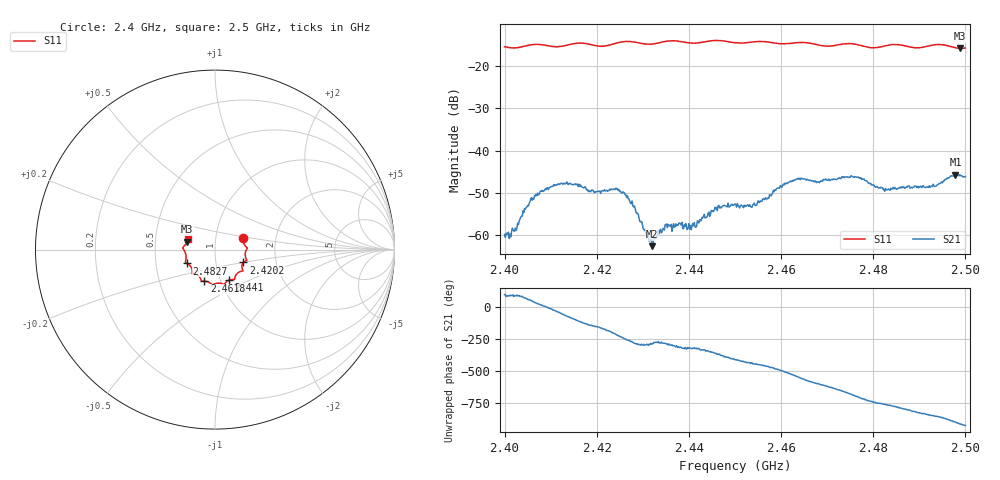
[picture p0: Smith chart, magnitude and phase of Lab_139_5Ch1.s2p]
# Hz S RI R 50
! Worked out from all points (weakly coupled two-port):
!   601 points, 2.4 GHz to 2.5 GHz, reference 50 ohm
!   highest |S21| = -45.66 dB at 2.4978 GHz (marker M1); lowest = -62.6 dB at 2.432 GHz (marker M2)
!   lowest |S11| = -15.8 dB at 2.4988 GHz (marker M3), VSWR 1.39, Z = 36.4 + j3.34 ohm
!   |S11| at or under -10 dB: start of sweep to end of sweep
!   S12 and S22 are empty: the file has one direction only
!   S11 on the Smith chart (normalised r, x): 2.4 GHz: 1.36, +0.17; 2.4202 GHz: 1.36, -0.20; 2.441 GHz: 1.10, -0.39; 2.4618 GHz: 0.84, -0.30; 2.4827 GHz: 0.72, -0.11; 2.5 GHz: 0.73, +0.09
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2.4e9  0.1578 0.0623  -0.000118 0.00102  0 0  0 0
2.4025e9  0.1615 0.0331  5.84e-05 0.00114  0 0  0 0
2.407667e9  0.1803 0.00774  0.00309 0.00106  0 0  0 0
2.416667e9  0.1772 -0.0604  -0.00179 -0.00331  0 0  0 0
2.420167e9  0.158 -0.0714  -0.00299 -0.00139  0 0  0 0
2.426167e9  0.1564 -0.1178  -0.00118 0.00278  0 0  0 0
2.432e9  0.1181 -0.139  0.000243 0.000703  0 0  0 0
2.433333e9  0.1115 -0.151  -2.72e-05 0.00115  0 0  0 0
2.435333e9  0.1096 -0.1647  0.000348 0.00118  0 0  0 0
2.441e9  0.0779 -0.17  0.00102 0.000806  0 0  0 0
2.446e9  0.05 -0.1949  0.00212 -0.000243  0 0  0 0
2.45e9  0.028 -0.1872  0.00147 -0.00182  0 0  0 0
2.454167e9  -0.00825 -0.1939  0.000327 -0.00238  0 0  0 0
2.461833e9  -0.0598 -0.1756  -0.00399 -0.00157  0 0  0 0
2.466667e9  -0.0784 -0.1678  -0.00314 0.00307  0 0  0 0
2.475667e9  -0.1274 -0.1321  0.00401 0.00277  0 0  0 0
2.482667e9  -0.1563 -0.0772  0.00279 -0.00224  0 0  0 0
2.483333e9  -0.1605 -0.0752  0.00254 -0.00248  0 0  0 0
2.493667e9  -0.1798 0.00761  -0.00248 -0.00291  0 0  0 0
2.497833e9  -0.1619 0.0322  -0.0052 -0.000356  0 0  0 0
2.498833e9  -0.1558 0.0446  -0.00509 0.00105  0 0  0 0
2.5e9  -0.1523 0.0615  -0.00457 0.00187  0 0  0 0
